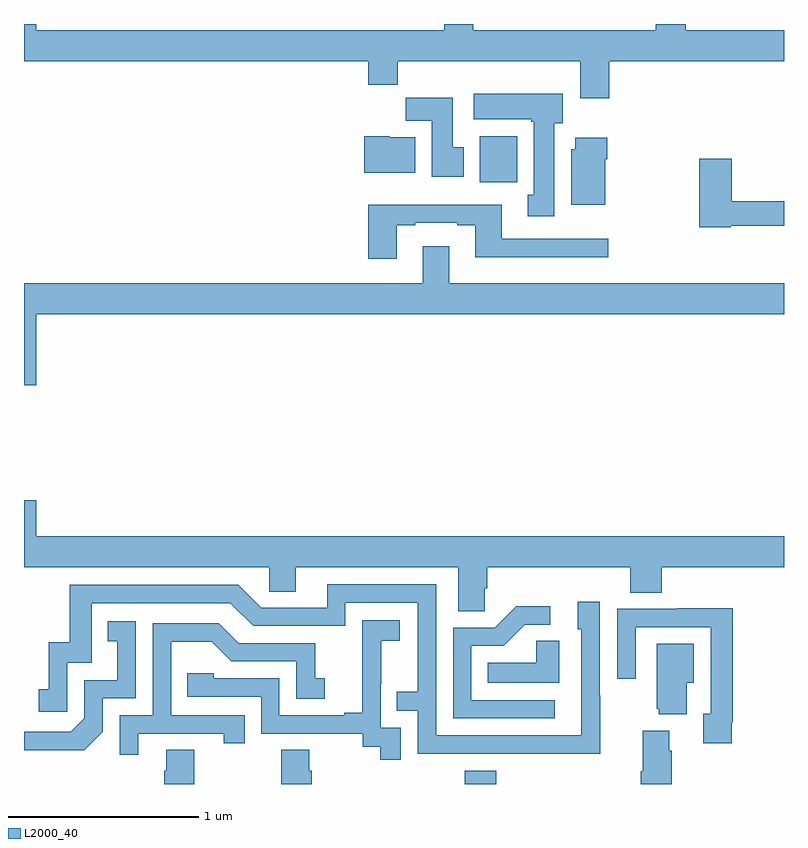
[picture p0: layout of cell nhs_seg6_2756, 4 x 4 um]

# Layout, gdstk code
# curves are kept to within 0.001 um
import gdstk
lib = gdstk.Library(unit=1e-6, precision=1e-09)
def R(c, l, rs):  # rectangles x0, y0, x1, y1
    for r in rs: c.add(gdstk.rectangle(r[:2], r[2:], *l))
def P(c, l, *ps):  # polygons
    for p in ps: c.add(gdstk.Polygon(p, *l))
L2000_40 = (2000, 40)

nhs_seg6_2756 = lib.new_cell('nhs_seg6_2756')
R(nhs_seg6_2756, L2000_40, [(275.321,975.5,275.486,975.571), (275.399,978.668,275.596,978.91)])
P(nhs_seg6_2756, L2000_40, [(276.08,979.304),(277,979.304),(277,979.468),(276.482,979.468),(276.482,979.5),(276.325,979.5),(276.325,979.468),(275.365,979.468),(275.365,979.5),(275.213,979.5),(275.213,979.468),(273.064,979.468),(273.064,979.5),(273,979.5),(273,979.304),(274.811,979.304),(274.811,979.18),(274.967,979.18),(274.967,979.304),(275.927,979.304),(275.927,979.11),(276.08,979.11)],
  [(275.791,978.978),(275.836,978.978),(275.836,979.132),(275.367,979.132),(275.367,978.998),(275.671,978.998),(275.671,978.985),(275.684,978.985),(275.684,978.602),(275.651,978.602),(275.651,978.489),(275.791,978.489)],
  [(275.314,978.852),(275.257,978.852),(275.257,979.111),(275.008,979.111),(275.008,978.992),(275.147,978.992),(275.147,978.696),(275.314,978.696)],
  [(275.059,978.904),(274.926,978.904),(274.926,978.91),(274.79,978.91),(274.79,978.716),(275.059,978.716)],
  [(276.058,978.788),(276.071,978.788),(276.071,978.901),(275.9,978.901),(275.9,978.84),(275.879,978.84),(275.879,978.548),(276.058,978.548)],
  [(276.72,978.438),(277,978.438),(277,978.566),(276.724,978.566),(276.724,978.79),(276.554,978.79),(276.554,978.43),(276.72,978.43)],
  [(274.963,978.441),(275.059,978.441),(275.059,978.453),(275.279,978.453),(275.279,978.441),(275.375,978.441),(275.375,978.272),(276.076,978.272),(276.076,978.369),(275.515,978.369),(275.515,978.55),(274.811,978.55),(274.811,978.264),(274.963,978.264)],
  [(273.064,977.972),(277,977.972),(277,978.136),(275.239,978.136),(275.239,978.331),(275.099,978.331),(275.099,978.136),(273,978.136),(273,977.598),(273.064,977.598)],
  [(273.064,976.993),(273,976.993),(273,976.64),(274.29,976.64),(274.29,976.513),(274.429,976.513),(274.429,976.64),(275.285,976.64),(275.285,976.408),(275.424,976.408),(275.424,976.531),(275.438,976.531),(275.438,976.64),(276.191,976.64),(276.191,976.507),(276.356,976.507),(276.356,976.64),(277,976.64),(277,976.804),(273.064,976.804)],
  [(276.033,975.965),(276.03,975.965),(276.03,976.459),(275.915,976.459),(275.915,976.314),(275.934,976.314),(275.934,975.756),(275.169,975.756),(275.169,976.551),(274.595,976.551),(274.595,976.428),(274.248,976.428),(274.128,976.548),(273.241,976.548),(273.241,976.246),(273.131,976.246),(273.131,975.999),(273.078,975.999),(273.078,975.879),(273.228,975.879),(273.228,976.137),(273.357,976.137),(273.357,976.452),(274.086,976.452),(274.206,976.332),(274.692,976.332),(274.692,976.455),(275.073,976.455),(275.073,975.986),(274.963,975.986),(274.963,975.885),(275.073,975.885),(275.073,975.66),(276.033,975.659)],
  [(275.794,975.942),(275.355,975.942),(275.355,976.227),(275.524,976.227),(275.635,976.338),(275.77,976.338),(275.77,976.436),(275.591,976.436),(275.478,976.323),(275.259,976.323),(275.259,975.846),(275.794,975.846)],
  [(276.724,975.826),(276.731,975.826),(276.731,976.424),(276.439,976.424),(276.439,976.422),(276.123,976.422),(276.123,976.053),(276.219,976.053),(276.219,976.326),(276.615,976.326),(276.615,975.87),(276.575,975.87),(276.575,975.714),(276.724,975.714)],
  [(274.983,975.795),(274.878,975.795),(274.878,976.025),(274.88,976.025),(274.88,976.253),(274.978,976.253),(274.978,976.363),(274.78,976.363),(274.78,976.157),(274.781,976.157),(274.781,975.874),(274.685,975.874),(274.685,975.861),(274.344,975.861),(274.344,976.056),(273.999,976.056),(273.999,976.083),(273.859,976.083),(273.859,975.96),(274.248,975.96),(274.248,975.765),(274.782,975.765),(274.782,975.697),(274.875,975.697),(274.875,975.627),(274.983,975.627)],
  [(273.414,975.774),(273.414,975.951),(273.588,975.951),(273.588,976.357),(273.442,976.357),(273.442,976.251),(273.491,976.251),(273.491,976.047),(273.318,976.047),(273.318,975.846),(273.246,975.774),(273,975.774),(273,975.677),(273.316,975.677)],
  [(273.601,975.765),(274.052,975.765),(274.052,975.714),(274.163,975.714),(274.163,975.861),(273.774,975.861),(273.774,976.25),(273.988,976.25),(274.092,976.146),(274.434,976.146),(274.434,975.948),(274.582,975.948),(274.582,976.057),(274.533,976.057),(274.533,976.242),(274.129,976.242),(274.024,976.347),(273.678,976.347),(273.678,975.861),(273.504,975.861),(273.504,975.654),(273.601,975.654)],
  [(275.818,976.253),(275.697,976.253),(275.697,976.138),(275.44,976.138),(275.44,976.034),(275.818,976.034)],
  [(276.487,976.034),(276.526,976.034),(276.526,976.237),(276.329,976.237),(276.329,975.897),(276.341,975.897),(276.341,975.866),(276.487,975.866)],
  [(276.41,975.674),(276.397,975.674),(276.397,975.781),(276.257,975.781),(276.257,975.568),(276.245,975.568),(276.245,975.5),(276.41,975.5)],
  [(274.514,975.57),(274.501,975.57),(274.501,975.68),(274.354,975.68),(274.354,975.5),(274.514,975.5)],
  [(273.897,975.68),(273.749,975.68),(273.749,975.57),(273.737,975.57),(273.737,975.5),(273.897,975.5)])

lib.write_gds('nhs_seg6_2756.gds')
